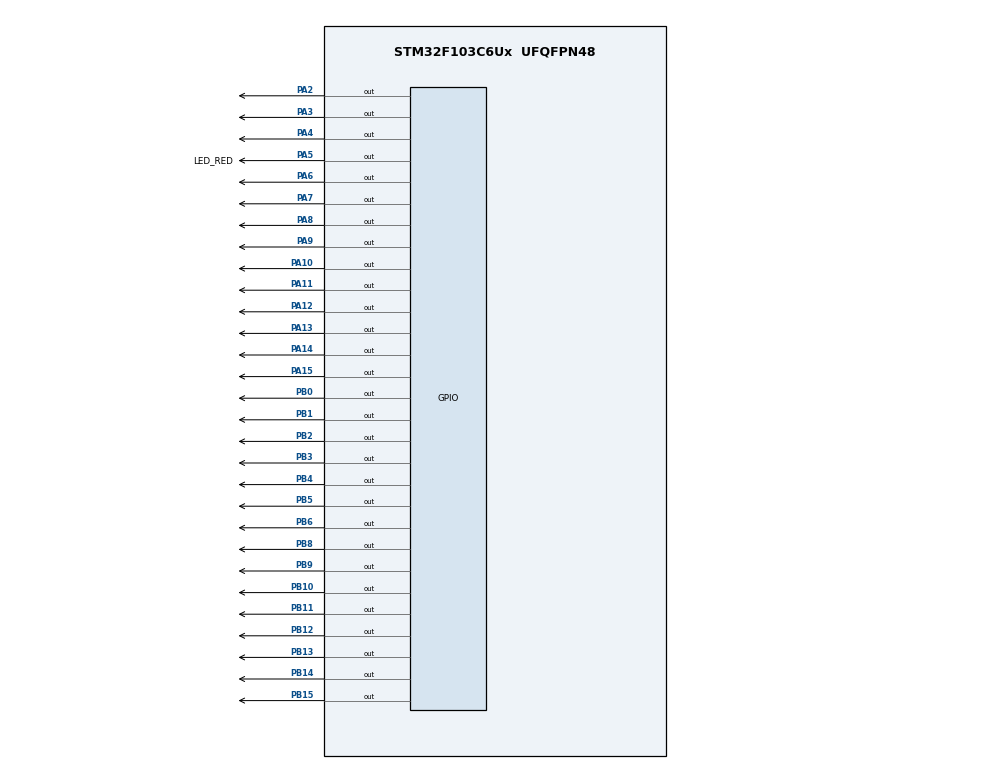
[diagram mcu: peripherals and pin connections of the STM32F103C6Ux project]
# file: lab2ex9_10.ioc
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Mcu.Family=STM32F1
Mcu.Name=STM32F103C6Ux
Mcu.Package=UFQFPN48
NVIC.PriorityGroup=NVIC_PRIORITYGROUP_4
NVIC.TIM2_IRQn=true\:0\:0\:false\:false\:true\:true\:true
PA10.Signal=GPIO_Output
PA11.Signal=GPIO_Output
PA12.Signal=GPIO_Output
PA13.Signal=GPIO_Output
PA14.Signal=GPIO_Output
PA15.Signal=GPIO_Output
PA2.Signal=GPIO_Output
PA3.Signal=GPIO_Output
PA4.Signal=GPIO_Output
PA5.GPIO_Label=LED_RED
PA5.Signal=GPIO_Output
PA6.Signal=GPIO_Output
PA7.Signal=GPIO_Output
PA8.Signal=GPIO_Output
PA9.Signal=GPIO_Output
PB0.Signal=GPIO_Output
PB1.Signal=GPIO_Output
PB10.Signal=GPIO_Output
PB11.Signal=GPIO_Output
PB12.Signal=GPIO_Output
PB13.Signal=GPIO_Output
PB14.Signal=GPIO_Output
PB15.Signal=GPIO_Output
PB2.Signal=GPIO_Output
PB3.Signal=GPIO_Output
PB4.Signal=GPIO_Output
PB5.Signal=GPIO_Output
PB6.Signal=GPIO_Output
PB8.Signal=GPIO_Output
PB9.Signal=GPIO_Output
ProjectManager.HeapSize=0x200
ProjectManager.StackSize=0x400
ProjectManager.TargetToolchain=STM32CubeIDE
RCC.APB1Freq_Value=8000000
RCC.APB2Freq_Value=8000000
TIM2.Period=9
TIM2.Prescaler=7999
VP_SYS_VS_ND.Mode=No_Debug
VP_TIM2_VS_ClockSourceINT.Mode=Internal
board=custom

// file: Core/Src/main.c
/* USER CODE BEGIN Header */
/**
 ******************************************************************************
 * @file           : main.c
 * @brief          : Main program body
 ******************************************************************************
 * @attention
 *
 * <h2><center>&copy; Copyright (c) 2026 STMicroelectronics.
 * All rights reserved.</center></h2>
 *
 * This software component is licensed by ST under BSD 3-Clause license,
 * the "License"; You may not use this file except in compliance with the
 * License. You may obtain a copy of the License at:
 *                        opensource.org/licenses/BSD-3-Clause
 *
 ******************************************************************************
 */
/* USER CODE END Header */
#include "main.h"

TIM_HandleTypeDef htim2;

void SystemClock_Config(void);
static void MX_GPIO_Init(void);
static void MX_TIM2_Init(void);
/* USER CODE BEGIN PFP */
void update7SEG(int index);
void updateLEDMatrix(int index);
/* USER CODE END PFP */

/* USER CODE BEGIN 0 */
#define DOT_Pin GPIO_PIN_4
#define EN0_Pin GPIO_PIN_6
#define EN1_Pin GPIO_PIN_7
#define EN2_Pin GPIO_PIN_8
#define EN3_Pin GPIO_PIN_9

#define MAX_TIMERS 10
int timer_counter[MAX_TIMERS] = {0};
int timer_flag[MAX_TIMERS] = {0};
int TIMER_CYCLE = 10;

void setTimer(int index, int duration) {
  if (index >= 0 && index < MAX_TIMERS) {
    timer_counter[index] = duration / TIMER_CYCLE;
    timer_flag[index] = 0;
  }
}

void timerRun() {
  for (int i = 0; i < MAX_TIMERS; i++) {
    if (timer_counter[i] > 0) {
      timer_counter[i]--;
      if (timer_counter[i] <= 0) {
        timer_flag[i] = 1;
      }
    }
  }
}

int hour = 15, minute = 8, second = 50;
const int MAX_LED = 4;
int led_buffer[4] = {1, 2, 3, 0};
int led_index = 0;

void updateClockBuffer() {
  led_buffer[0] = hour / 10;
  led_buffer[1] = hour % 10;
  led_buffer[2] = minute / 10;
  led_buffer[3] = minute % 10;
}

void display7SEG(int num) {
  GPIO_PinState a = GPIO_PIN_SET;
  GPIO_PinState b = GPIO_PIN_SET;
  GPIO_PinState c = GPIO_PIN_SET;
  GPIO_PinState d = GPIO_PIN_SET;
  GPIO_PinState e = GPIO_PIN_SET;
  GPIO_PinState f = GPIO_PIN_SET;
  GPIO_PinState g = GPIO_PIN_SET;

  switch (num) {
  case 0: a=0; b=0; c=0; d=0; e=0; f=0; break;
  case 1: b=0; c=0; break;
  case 2: a=0; b=0; d=0; e=0; g=0; break;
  case 3: a=0; b=0; c=0; d=0; g=0; break;
  case 4: b=0; c=0; f=0; g=0; break;
  case 5: a=0; c=0; d=0; f=0; g=0; break;
  case 6: a=0; c=0; d=0; e=0; f=0; g=0; break;
  case 7: a=0; b=0; c=0; break;
  case 8: a=0; b=0; c=0; d=0; e=0; f=0; g=0; break;
  case 9: a=0; b=0; c=0; d=0; f=0; g=0; break;
  }

  HAL_GPIO_WritePin(GPIOB, GPIO_PIN_0, a);
  HAL_GPIO_WritePin(GPIOB, GPIO_PIN_1, b);
  HAL_GPIO_WritePin(GPIOB, GPIO_PIN_2, c);
  HAL_GPIO_WritePin(GPIOB, GPIO_PIN_3, d);
  HAL_GPIO_WritePin(GPIOB, GPIO_PIN_4, e);
  HAL_GPIO_WritePin(GPIOB, GPIO_PIN_5, f);
  HAL_GPIO_WritePin(GPIOB, GPIO_PIN_6, g);
}

const int MAX_LED_MATRIX = 8;
int index_led_matrix = 0;

uint8_t matrix_buffer[8] = {0x18, 0x3C, 0x66, 0x66, 0x7E, 0x7E, 0x66, 0x66};

void updateLEDMatrix(int index) {
  HAL_GPIO_WritePin(GPIOA, GPIO_PIN_2 | GPIO_PIN_3 | GPIO_PIN_10 |
                           GPIO_PIN_11 | GPIO_PIN_12 | GPIO_PIN_13 |
                           GPIO_PIN_14 | GPIO_PIN_15, GPIO_PIN_RESET);

  uint8_t row_data = matrix_buffer[index];

  HAL_GPIO_WritePin(GPIOB, GPIO_PIN_8,  (row_data >> 0) & 0x01);
  HAL_GPIO_WritePin(GPIOB, GPIO_PIN_9,  (row_data >> 1) & 0x01);
  HAL_GPIO_WritePin(GPIOB, GPIO_PIN_10, (row_data >> 2) & 0x01);
  HAL_GPIO_WritePin(GPIOB, GPIO_PIN_11, (row_data >> 3) & 0x01);
  HAL_GPIO_WritePin(GPIOB, GPIO_PIN_12, (row_data >> 4) & 0x01);
  HAL_GPIO_WritePin(GPIOB, GPIO_PIN_13, (row_data >> 5) & 0x01);
  HAL_GPIO_WritePin(GPIOB, GPIO_PIN_14, (row_data >> 6) & 0x01);
  HAL_GPIO_WritePin(GPIOB, GPIO_PIN_15, (row_data >> 7) & 0x01);

  switch (index) {
    case 0: HAL_GPIO_WritePin(GPIOA, GPIO_PIN_2,  GPIO_PIN_SET); break;
    case 1: HAL_GPIO_WritePin(GPIOA, GPIO_PIN_3,  GPIO_PIN_SET); break;
    case 2: HAL_GPIO_WritePin(GPIOA, GPIO_PIN_10, GPIO_PIN_SET); break;
    case 3: HAL_GPIO_WritePin(GPIOA, GPIO_PIN_11, GPIO_PIN_SET); break;
    case 4: HAL_GPIO_WritePin(GPIOA, GPIO_PIN_12, GPIO_PIN_SET); break;
    case 5: HAL_GPIO_WritePin(GPIOA, GPIO_PIN_13, GPIO_PIN_SET); break;
    case 6: HAL_GPIO_WritePin(GPIOA, GPIO_PIN_14, GPIO_PIN_SET); break;
    case 7: HAL_GPIO_WritePin(GPIOA, GPIO_PIN_15, GPIO_PIN_SET); break;
  }
}
/* USER CODE END 0 */

int main(void)
{

  /* MCU Configuration--------------------------------------------------------*/

  /* Reset of all peripherals, Initializes the Flash interface and the Systick. */
  HAL_Init();

  /* Configure the system clock */
  SystemClock_Config();

  /* Initialize all configured peripherals */
  MX_GPIO_Init();
  MX_TIM2_Init();
  /* USER CODE BEGIN 2 */
  HAL_TIM_Base_Start_IT(&htim2);

  setTimer(0, 1000);
  setTimer(1, 500);
  setTimer(2, 250);
  setTimer(3, 10);

  updateClockBuffer();

  /* USER CODE END 2 */

  /* Infinite loop */
  while (1) {

    /* USER CODE BEGIN 3 */

    if (timer_flag[0] == 1) {
      setTimer(0, 1000);
      second++;
      if (second >= 60) {
        second = 0;
        minute++;
      }
      if (minute >= 60) {
        minute = 0;
        hour++;
      }
      if (hour >= 24) {
        hour = 0;
      }
      updateClockBuffer();
    }

    if (timer_flag[1] == 1) {
      setTimer(1, 500);
      HAL_GPIO_TogglePin(GPIOA, DOT_Pin);
    }

    if (timer_flag[2] == 1) {
      setTimer(2, 250);
      update7SEG(led_index);

      led_index++;
      if (led_index >= MAX_LED) {
        led_index = 0;
      }
    }

    if (timer_flag[3] == 1) {
      setTimer(3, 10);
      updateLEDMatrix(index_led_matrix);

      index_led_matrix++;
      if (index_led_matrix >= MAX_LED_MATRIX) {
        index_led_matrix = 0;
      }
    }
  }
  /* USER CODE END 3 */
}

void SystemClock_Config(void)
{
  RCC_OscInitTypeDef RCC_OscInitStruct = {0};
  RCC_ClkInitTypeDef RCC_ClkInitStruct = {0};

  /** Initializes the RCC Oscillators according to the specified parameters
  * in the RCC_OscInitTypeDef structure.
  */
  RCC_OscInitStruct.OscillatorType = RCC_OSCILLATORTYPE_HSI;
  RCC_OscInitStruct.HSIState = RCC_HSI_ON;
  RCC_OscInitStruct.HSICalibrationValue = RCC_HSICALIBRATION_DEFAULT;
  RCC_OscInitStruct.PLL.PLLState = RCC_PLL_NONE;
  if (HAL_RCC_OscConfig(&RCC_OscInitStruct) != HAL_OK)
  {
    Error_Handler();
  }
  /** Initializes the CPU, AHB and APB buses clocks
  */
  RCC_ClkInitStruct.ClockType = RCC_CLOCKTYPE_HCLK|RCC_CLOCKTYPE_SYSCLK
                              |RCC_CLOCKTYPE_PCLK1|RCC_CLOCKTYPE_PCLK2;
  RCC_ClkInitStruct.SYSCLKSource = RCC_SYSCLKSOURCE_HSI;
  RCC_ClkInitStruct.AHBCLKDivider = RCC_SYSCLK_DIV1;
  RCC_ClkInitStruct.APB1CLKDivider = RCC_HCLK_DIV1;
  RCC_ClkInitStruct.APB2CLKDivider = RCC_HCLK_DIV1;

  if (HAL_RCC_ClockConfig(&RCC_ClkInitStruct, FLASH_LATENCY_0) != HAL_OK)
  {
    Error_Handler();
  }
}

static void MX_TIM2_Init(void)
{

  TIM_ClockConfigTypeDef sClockSourceConfig = {0};
  TIM_MasterConfigTypeDef sMasterConfig = {0};

  htim2.Instance = TIM2;
  htim2.Init.Prescaler = 7999;
  htim2.Init.CounterMode = TIM_COUNTERMODE_UP;
  htim2.Init.Period = 9;
  htim2.Init.ClockDivision = TIM_CLOCKDIVISION_DIV1;
  htim2.Init.AutoReloadPreload = TIM_AUTORELOAD_PRELOAD_DISABLE;
  if (HAL_TIM_Base_Init(&htim2) != HAL_OK)
  {
    Error_Handler();
  }
  sClockSourceConfig.ClockSource = TIM_CLOCKSOURCE_INTERNAL;
  if (HAL_TIM_ConfigClockSource(&htim2, &sClockSourceConfig) != HAL_OK)
  {
    Error_Handler();
  }
  sMasterConfig.MasterOutputTrigger = TIM_TRGO_RESET;
  sMasterConfig.MasterSlaveMode = TIM_MASTERSLAVEMODE_DISABLE;
  if (HAL_TIMEx_MasterConfigSynchronization(&htim2, &sMasterConfig) != HAL_OK)
  {
    Error_Handler();
  }

}

static void MX_GPIO_Init(void)
{
  GPIO_InitTypeDef GPIO_InitStruct = {0};

  /* GPIO Ports Clock Enable */
  __HAL_RCC_GPIOA_CLK_ENABLE();
  __HAL_RCC_GPIOB_CLK_ENABLE();

  /*Configure GPIO pin Output Level */
  HAL_GPIO_WritePin(GPIOA, GPIO_PIN_2|GPIO_PIN_3|GPIO_PIN_4|LED_RED_Pin
                          |GPIO_PIN_6|GPIO_PIN_7|GPIO_PIN_8|GPIO_PIN_9
                          |GPIO_PIN_10|GPIO_PIN_11|GPIO_PIN_12|GPIO_PIN_13
                          |GPIO_PIN_14|GPIO_PIN_15, GPIO_PIN_RESET);

  /*Configure GPIO pin Output Level */
  HAL_GPIO_WritePin(GPIOB, GPIO_PIN_0|GPIO_PIN_1|GPIO_PIN_2|GPIO_PIN_10
                          |GPIO_PIN_11|GPIO_PIN_12|GPIO_PIN_13|GPIO_PIN_14
                          |GPIO_PIN_15|GPIO_PIN_3|GPIO_PIN_4|GPIO_PIN_5
                          |GPIO_PIN_6|GPIO_PIN_8|GPIO_PIN_9, GPIO_PIN_RESET);

  /*Configure GPIO pins : PA2 PA3 PA4 LED_RED_Pin
                           PA6 PA7 PA8 PA9
                           PA10 PA11 PA12 PA13
                           PA14 PA15 */
  GPIO_InitStruct.Pin = GPIO_PIN_2|GPIO_PIN_3|GPIO_PIN_4|LED_RED_Pin
                          |GPIO_PIN_6|GPIO_PIN_7|GPIO_PIN_8|GPIO_PIN_9
                          |GPIO_PIN_10|GPIO_PIN_11|GPIO_PIN_12|GPIO_PIN_13
                          |GPIO_PIN_14|GPIO_PIN_15;
  GPIO_InitStruct.Mode = GPIO_MODE_OUTPUT_PP;
  GPIO_InitStruct.Pull = GPIO_NOPULL;
  GPIO_InitStruct.Speed = GPIO_SPEED_FREQ_LOW;
  HAL_GPIO_Init(GPIOA, &GPIO_InitStruct);

  /*Configure GPIO pins : PB0 PB1 PB2 PB10
                           PB11 PB12 PB13 PB14
                           PB15 PB3 PB4 PB5
                           PB6 PB8 PB9 */
  GPIO_InitStruct.Pin = GPIO_PIN_0|GPIO_PIN_1|GPIO_PIN_2|GPIO_PIN_10
                          |GPIO_PIN_11|GPIO_PIN_12|GPIO_PIN_13|GPIO_PIN_14
                          |GPIO_PIN_15|GPIO_PIN_3|GPIO_PIN_4|GPIO_PIN_5
                          |GPIO_PIN_6|GPIO_PIN_8|GPIO_PIN_9;
  GPIO_InitStruct.Mode = GPIO_MODE_OUTPUT_PP;
  GPIO_InitStruct.Pull = GPIO_NOPULL;
  GPIO_InitStruct.Speed = GPIO_SPEED_FREQ_LOW;
  HAL_GPIO_Init(GPIOB, &GPIO_InitStruct);

}

/* USER CODE BEGIN 4 */
void update7SEG(int index) {
  HAL_GPIO_WritePin(GPIOA, EN0_Pin | EN1_Pin | EN2_Pin | EN3_Pin, GPIO_PIN_SET);
  display7SEG(led_buffer[index]);
  switch (index) {
  case 0: HAL_GPIO_WritePin(GPIOA, EN0_Pin, GPIO_PIN_RESET); break;
  case 1: HAL_GPIO_WritePin(GPIOA, EN1_Pin, GPIO_PIN_RESET); break;
  case 2: HAL_GPIO_WritePin(GPIOA, EN2_Pin, GPIO_PIN_RESET); break;
  case 3: HAL_GPIO_WritePin(GPIOA, EN3_Pin, GPIO_PIN_RESET); break;
  }
}

void HAL_TIM_PeriodElapsedCallback(TIM_HandleTypeDef *htim) {
  if (htim->Instance == TIM2) {
    timerRun();
  }
}
/* USER CODE END 4 */

void Error_Handler(void)
{
  __disable_irq();
  while (1)
  {
  }
}

#ifdef  USE_FULL_ASSERT
/**
  * @brief  Reports the name of the source file and the source line number
  *         where the assert_param error has occurred.
  * @param  file: pointer to the source file name
  * @param  line: assert_param error line source number
  * @retval None
  */
void assert_failed(uint8_t *file, uint32_t line)
{
  /* USER CODE BEGIN 6 */
  /* User can add his own implementation to report the file name and line
     number, ex: printf("Wrong parameters value: file %s on line %d\r\n", file,
     line) */
  /* USER CODE END 6 */
}
#endif /* USE_FULL_ASSERT */

/************************ (C) COPYRIGHT STMicroelectronics *****END OF FILE****/
